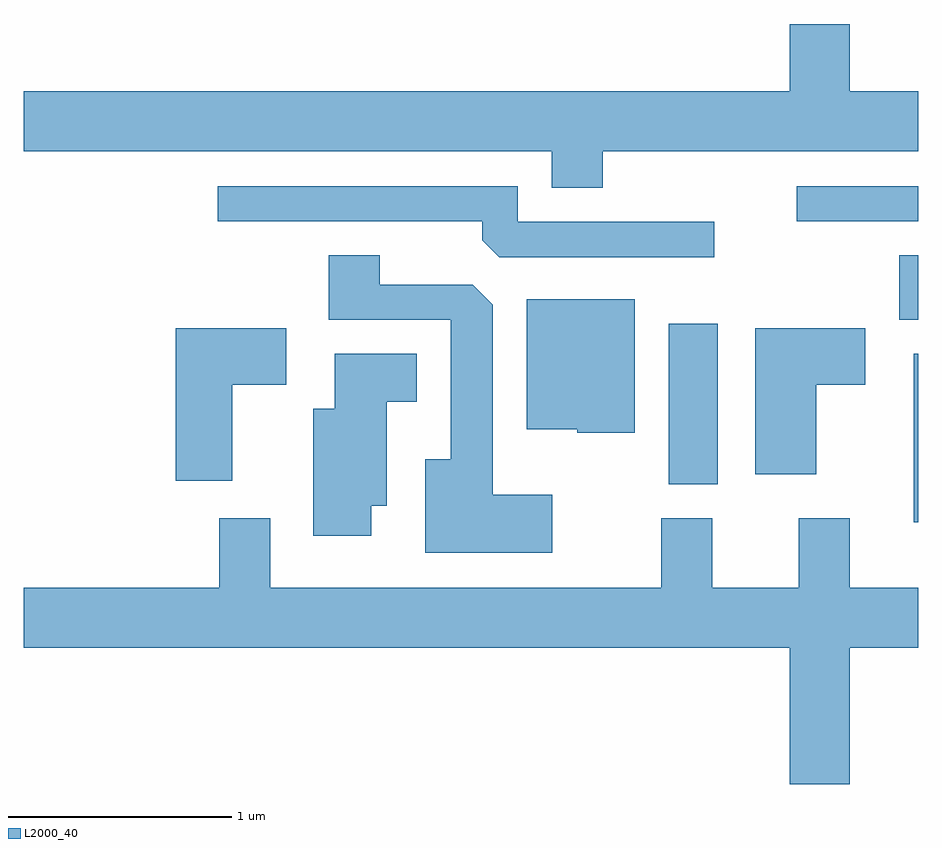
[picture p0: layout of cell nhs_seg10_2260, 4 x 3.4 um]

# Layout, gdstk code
import gdstk
lib = gdstk.Library(unit=1e-6, precision=1e-09)
def R(c, l, rs):  # rectangles x0, y0, x1, y1
    for r in rs: c.add(gdstk.rectangle(r[:2], r[2:], *l))
def P(c, l, *ps):  # polygons
    for p in ps: c.add(gdstk.Polygon(p, *l))
L2000_40 = (2000, 40)

nhs_seg10_2260 = lib.new_cell('nhs_seg10_2260')
R(nhs_seg10_2260, L2000_40, [(255.591,2127.796,255.611,2128.549), (254.496,2127.966,254.714,2128.684), (255.526,2128.701,255.611,2128.989), (255.068,2129.141,255.611,2129.299)])
P(nhs_seg10_2260, L2000_40, [(254.199,2129.456),(255.611,2129.456),(255.611,2129.724),(255.304,2129.724),(255.304,2130.024),(255.036,2130.024),(255.036,2129.724),(251.611,2129.724),(251.611,2129.456),(253.971,2129.456),(253.971,2129.291),(254.199,2129.291)],
  [(254.698,2129.139),(253.819,2129.139),(253.819,2129.299),(252.478,2129.299),(252.478,2129.141),(253.661,2129.141),(253.661,2129.057),(253.737,2128.981),(254.698,2128.981)],
  [(253.974,2127.919),(253.709,2127.919),(253.709,2128.769),(253.619,2128.859),(253.204,2128.859),(253.204,2128.989),(252.976,2128.989),(252.976,2128.701),(253.521,2128.701),(253.521,2128.079),(253.406,2128.079),(253.406,2127.661),(253.974,2127.661)],
  [(254.344,2128.794),(253.861,2128.794),(253.861,2128.211),(254.085,2128.211),(254.085,2128.196),(254.344,2128.196)],
  [(255.154,2128.411),(255.374,2128.411),(255.374,2128.664),(254.881,2128.664),(254.881,2128.011),(255.154,2128.011)],
  [(252.544,2128.411),(252.784,2128.411),(252.784,2128.664),(252.291,2128.664),(252.291,2127.981),(252.544,2127.981)],
  [(253.164,2127.871),(253.234,2127.871),(253.234,2128.336),(253.369,2128.336),(253.369,2128.549),(253.001,2128.549),(253.001,2128.304),(252.906,2128.304),(252.906,2127.736),(253.164,2127.736)],
  [(255.304,2127.236),(255.611,2127.236),(255.611,2127.504),(255.304,2127.504),(255.304,2127.814),(255.076,2127.814),(255.076,2127.504),(254.689,2127.504),(254.689,2127.814),(254.461,2127.814),(254.461,2127.504),(252.714,2127.504),(252.714,2127.814),(252.486,2127.814),(252.486,2127.504),(251.611,2127.504),(251.611,2127.236),(255.036,2127.236),(255.036,2126.626),(255.304,2126.626)])

lib.write_gds('nhs_seg10_2260.gds')
